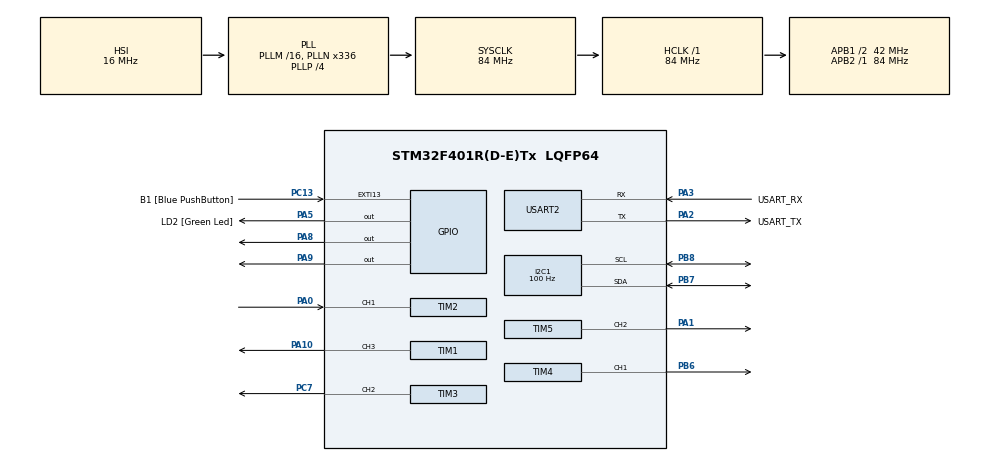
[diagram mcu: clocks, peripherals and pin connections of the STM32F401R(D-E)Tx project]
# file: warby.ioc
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I2C1.ClockSpeed=100
Mcu.Family=STM32F4
Mcu.Name=STM32F401R(D-E)Tx
Mcu.Package=LQFP64
NVIC.PriorityGroup=NVIC_PRIORITYGROUP_0
NVIC.TIM2_IRQn=true\:0\:0\:false\:false\:true\:true\:true
PA0-WKUP.Signal=S_TIM2_CH1_ETR
PA1.Signal=S_TIM5_CH2
PA10.Signal=S_TIM1_CH3
PA13.GPIO_Label=TMS
PA13.Mode=Serial_Wire
PA13.Signal=SYS_JTMS-SWDIO
PA14.GPIO_Label=TCK
PA14.Mode=Serial_Wire
PA14.Signal=SYS_JTCK-SWCLK
PA2.GPIO_Label=USART_TX
PA2.GPIO_Mode=GPIO_MODE_AF_PP
PA2.GPIO_PuPd=GPIO_NOPULL
PA2.GPIO_Speed=GPIO_SPEED_FREQ_LOW
PA2.Mode=Asynchronous
PA2.Signal=USART2_TX
PA3.GPIO_Label=USART_RX
PA3.GPIO_Mode=GPIO_MODE_AF_PP
PA3.GPIO_PuPd=GPIO_NOPULL
PA3.GPIO_Speed=GPIO_SPEED_FREQ_LOW
PA3.Mode=Asynchronous
PA3.Signal=USART2_RX
PA5.GPIO_Label=LD2 [Green Led]
PA5.GPIO_Mode=GPIO_MODE_OUTPUT_PP
PA5.GPIO_PuPd=GPIO_NOPULL
PA5.GPIO_Speed=GPIO_SPEED_FREQ_LOW
PA5.Signal=GPIO_Output
PA8.Signal=GPIO_Output
PA9.Signal=GPIO_Output
PB3.GPIO_Label=SWO
PB3.Signal=SYS_JTDO-SWO
PB6.Signal=S_TIM4_CH1
PB7.Mode=I2C
PB7.Signal=I2C1_SDA
PB8.Mode=I2C
PB8.Signal=I2C1_SCL
PC13-ANTI_TAMP.GPIO_Label=B1 [Blue PushButton]
PC13-ANTI_TAMP.GPIO_ModeDefaultEXTI=GPIO_MODE_IT_FALLING
PC13-ANTI_TAMP.GPIO_PuPd=GPIO_NOPULL
PC13-ANTI_TAMP.Signal=GPXTI13
PC14-OSC32_IN.Mode=LSE-External-Oscillator
PC14-OSC32_IN.Signal=RCC_OSC32_IN
PC15-OSC32_OUT.Mode=LSE-External-Oscillator
PC15-OSC32_OUT.Signal=RCC_OSC32_OUT
PC7.Signal=S_TIM3_CH2
PH0\ -\ OSC_IN.Mode=HSE-External-Clock-Source
PH0\ -\ OSC_IN.Signal=RCC_OSC_IN
PH1\ -\ OSC_OUT.Mode=HSE-External-Clock-Source
PH1\ -\ OSC_OUT.Signal=RCC_OSC_OUT
ProjectManager.HeapSize=0x200
ProjectManager.StackSize=0x400
ProjectManager.TargetToolchain=STM32CubeIDE
RCC.48MHZClocksFreq_Value=48000000
RCC.AHBFreq_Value=84000000
RCC.APB1CLKDivider=RCC_HCLK_DIV2
RCC.APB1Freq_Value=42000000
RCC.APB1TimFreq_Value=84000000
RCC.APB2Freq_Value=84000000
RCC.APB2TimFreq_Value=84000000
RCC.CortexFreq_Value=84000000
RCC.HCLKFreq_Value=84000000
RCC.HSE_VALUE=8000000
RCC.HSI_VALUE=16000000
RCC.PLLN=336
RCC.PLLP=RCC_PLLP_DIV4
RCC.PLLQ=7
RCC.SYSCLKFreq_VALUE=84000000
RCC.SYSCLKSource=RCC_SYSCLKSOURCE_PLLCLK
RCC.VCOOutputFreq_Value=336000000
SH.S_TIM1_CH3.0=TIM1_CH3,PWM Generation3 CH3
SH.S_TIM2_CH1_ETR.0=TIM2_CH1,Input_Capture1_from_TI1
SH.S_TIM3_CH2.0=TIM3_CH2,PWM Generation2 CH2
SH.S_TIM4_CH1.0=TIM4_CH1,PWM Generation1 CH1
SH.S_TIM5_CH2.0=TIM5_CH2,PWM Generation2 CH2
TIM1.BreakPolarity=TIM_BREAKPOLARITY_HIGH
TIM1.Channel-PWM\ Generation3\ CH3=TIM_CHANNEL_3
TIM1.Period=499
TIM1.Prescaler=8399
TIM2.Channel-Input_Capture1_from_TI1=TIM_CHANNEL_1
TIM2.ICPolarity_CH1=TIM_INPUTCHANNELPOLARITY_RISING
TIM2.Period=100000
TIM2.Prescaler=42000
TIM3.Channel-PWM\ Generation2\ CH2=TIM_CHANNEL_2
TIM3.Period=499
TIM3.Prescaler=8399
TIM4.Channel-PWM\ Generation1\ CH1=TIM_CHANNEL_1
TIM4.Period=499
TIM4.Prescaler=8399
TIM5.Channel-PWM\ Generation2\ CH2=TIM_CHANNEL_2
TIM5.Period=100
TIM5.Prescaler=42000
USART2.VirtualMode=VM_ASYNC
VP_TIM1_VS_ClockSourceINT.Mode=Internal
VP_TIM2_VS_ClockSourceINT.Mode=Internal
VP_TIM3_VS_ClockSourceINT.Mode=Internal
VP_TIM4_VS_ClockSourceINT.Mode=Internal
VP_TIM5_VS_ClockSourceINT.Mode=Internal
board=NUCLEO-F401RE

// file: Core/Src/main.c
/* USER CODE BEGIN Header */
/**
  ******************************************************************************
  * @file           : main.c
  * @brief          : This program implements the state machine for a robotic
  * 				          system.
  ******************************************************************************
  * @attention
  *
  * <h2><center>&copy; Copyright (c) 2020 STMicroelectronics.
  * All rights reserved.</center></h2>
  *
  * This software component is licensed by ST under BSD 3-Clause license,
  * the "License"; You may not use this file except in compliance with the
  * License. You may obtain a copy of the License at:
  *                        opensource.org/licenses/BSD-3-Clause
  *
  ******************************************************************************
  */
/* USER CODE END Header */

#include "main.h"

/* USER CODE BEGIN Includes */
#include "stdbool.h"
/* USER CODE END Includes */

/* USER CODE BEGIN PTD */
typedef SystemState {
  Init_State,
  Transit_State,
  Object_Detect_Transit_State
};

typedef SystemEvent {
  Light_Detect_Event,
  Obstacle_Detect_Event
};
/* USER CODE END PTD */

/* USER CODE BEGIN PD */
#define FAST 110
#define MODERATE 70
#define SLOW 50
/* USER CODE END PD */

I2C_HandleTypeDef hi2c1;

TIM_HandleTypeDef htim1;
TIM_HandleTypeDef htim2;
TIM_HandleTypeDef htim3;
TIM_HandleTypeDef htim4;
TIM_HandleTypeDef htim5;

UART_HandleTypeDef huart2;

/* USER CODE BEGIN PV */
static const uint8_t PC8591_ADDR = 0x48 << 1; // Use 8-bit address
int servo_pwm = 0;
int pwm_scale = 190;
int pwm_light1 = 0;
int pwm_light2 = 0;
int pwm_dist1 = 0;
int pwm_dist2 = 0;
int obj_right = 0;
int obj_left = 0;
double rebound_angle = 0;
int brightest_one = 0; // init_state var: record brightest light read
int brightest_two = 0; // init_state var: record brightest light read
uint8_t buf[20];
int light_vals[3];
/* USER CODE END PV */

void SystemClock_Config(void);
static void MX_GPIO_Init(void);
static void MX_USART2_UART_Init(void);
static void MX_TIM1_Init(void);
static void MX_I2C1_Init(void);
static void MX_TIM3_Init(void);
static void MX_TIM4_Init(void);
static void MX_TIM2_Init(void);
static void MX_TIM5_Init(void);

/* USER CODE BEGIN 0 */
uint32_t IC_Val1 = 0;
uint32_t IC_Val2 = 0;
uint32_t difference = 0;
uint8_t isFirstCaptured = 0;  // boolean: is the first value captured

/**
  * @brief Called when an interrupt is generated. Captures the "on"
  * duration for the Echo PWM signal from the ultrasonic signal,
  * which corresponds to the relative distance of the nearest object.
  * @modifies IC_Val1, ICVal2, difference, isFirstCaptured
  * @param htim (pointer to timer that triggered the interrupt)
  * @retval None
  */
void HAL_TIM_IC_CaptureCallback(TIM_HandleTypeDef *htim) {
	if (htim->Instance == TIM2) { // interrupt source is TIM2
		if (!isFirstCaptured) { // first value not captured
			IC_Val1 = HAL_TIM_ReadCapturedValue(htim, TIM_CHANNEL_1); // read first value
			isFirstCaptured = 1;  // set first captured as true

			// change polarity to falling edge
			__HAL_TIM_SET_CAPTUREPOLARITY(htim, TIM_CHANNEL_1, TIM_INPUTCHANNELPOLARITY_FALLING);
		}
		else {  // if the first already captured
			IC_Val2 = HAL_TIM_ReadCapturedValue(htim, TIM_CHANNEL_1);  // read second value
			__HAL_TIM_SET_COUNTER(htim, 0);  // reset the counter

			if (IC_Val2 > IC_Val1) {
				difference = IC_Val2 - IC_Val1;
			}

			isFirstCaptured = 0; // set it back to false

			// set polarity to rising edge
			__HAL_TIM_SET_CAPTUREPOLARITY(htim, TIM_CHANNEL_1, TIM_INPUTCHANNELPOLARITY_RISING);
		} //else
	} //if
} //HAL_TIM_IC_CaptureCallback()

// EFFECTS: returns light intensity reading from photovoltaic cell
// on PC8591 module
int getLightIntensity() {
	HAL_StatusTypeDef ret;
	uint8_t buf[20];
	// Tell TMP102 that we want to read from the temperature register
	buf[0] = 0b01000000; // control byte
	ret = HAL_I2C_Master_Transmit(&hi2c1, PC8591_ADDR, buf, 1, HAL_MAX_DELAY);
	if ( ret != HAL_OK ) {
	  strcpy((char*)buf, "Error Tx\r\n");
	} else {

	  // Read 2 bytes from the temperature register
	  ret = HAL_I2C_Master_Receive(&hi2c1, PC8591_ADDR, buf, 2, HAL_MAX_DELAY);
	  if ( ret != HAL_OK ) {
		  strcpy((char*)buf, "Error Rx\r\n");
	  }
	}
	return buf[1]; // second read is more reliable
}

/**
  * @brief returns value of difference (global var) that is computed in
  * HAL_TIM_IC_CaptureCallback()
  * @param None
  * @retval distance reading to nearest object detected by ultrasonic
  * sensor
  */
int getDist() {
	__HAL_TIM_SetCompare(&htim5, TIM_CHANNEL_2, 5);
	return difference;
}

/**
  * @brief stops all motion
  * @param None
  * @retval None
  */
void brake() {
	__HAL_TIM_SetCompare(&htim3, TIM_CHANNEL_2, 0);
	__HAL_TIM_SetCompare(&htim4, TIM_CHANNEL_1, 0);
}

/**
  * @brief pivots robot to the right (in place) for specified
  * duration (timer)
  * @param timer (duration of pivot), use an int multiple of
  * pwm_scale
  * @retval None
  */
void turnR(uint32_t timer) {
	HAL_GPIO_WritePin(GPIOA, GPIO_PIN_8, 1);
	HAL_GPIO_WritePin(GPIOA, GPIO_PIN_9, 0);
	__HAL_TIM_SetCompare(&htim3, TIM_CHANNEL_2, FAST);
	__HAL_TIM_SetCompare(&htim4, TIM_CHANNEL_1, FAST);
	HAL_Delay(timer);
	brake();
}

/**
  * @brief pivots robot to the left (in place) for specified
  * duration (timer)
  * @param timer (duration of pivot), use an int multiple of
  * pwm_scale
  * @retval None
  */
void turnL(uint32_t timer) {
	HAL_GPIO_WritePin(GPIOA, GPIO_PIN_8, 0);
	HAL_GPIO_WritePin(GPIOA, GPIO_PIN_9, 1);
	__HAL_TIM_SetCompare(&htim3, TIM_CHANNEL_2, FAST);
	__HAL_TIM_SetCompare(&htim4, TIM_CHANNEL_1, FAST);
	HAL_Delay(timer);
	brake();
}

/**
  * @brief moves robot forward at specified speed for
  * specified duration (timer)
  * @param speed use macros SLOW, MODERATE, and FAST
  * @retval None
  */
void moveF(int speed) {
	HAL_GPIO_WritePin(GPIOA, GPIO_PIN_8, 0);
  HAL_GPIO_WritePin(GPIOA, GPIO_PIN_9, 0);
	__HAL_TIM_SetCompare(&htim3, TIM_CHANNEL_2, speed);
	__HAL_TIM_SetCompare(&htim4, TIM_CHANNEL_1, speed);
}

/**
  * @brief moves robot backwards at specified speed for
  * specified duration (timer)
  * @param speed -- use macros SLOW, MODERATE, and FAST
  * @retval None
  */
void reverse(int speed) {
	HAL_GPIO_WritePin(GPIOA, GPIO_PIN_8, 1);
  HAL_GPIO_WritePin(GPIOA, GPIO_PIN_9, 1);
	__HAL_TIM_SetCompare(&htim3, TIM_CHANNEL_2, speed);
	__HAL_TIM_SetCompare(&htim4, TIM_CHANNEL_1, speed);
}

/**
  * @brief manuvers around right side of object
  * @param None
  * @retval None
  */
void travelOnRight() {
  turnR(10*pwm_scale);
	moveF(FAST);
	turnL(5*pwm_scale);
}

/**
  * @brief manuvers around left side of object
  * @param None
  * @retval None
  */
void travelOnLeft() {
  turnL(10*pwm_scale);
  moveF(FAST);
  turnR(5*pwm_scale);
}

/**
  * @brief appropriately avoids object using boolean values
  * indicating presence of objects on the right or left side of robot
  * @param objR -- true if object on the right
  * @param objL -- true if object on the left
  * @retval None
  */
// EFFECTS:
void objectAvoid(bool objR, bool objL) {
	if(!objL) { // left side clear
		travelOnLeft();
	}
  else if(objR && objL) { // both sides occupied
		reverse(FAST);
    travelOnRight();
	}
	else { // right or both sides clear
		travelOnRight();
	}
}

SystemEvent ReadEvent(int *brightest) {
	SystemEvent event = Light_Detect_Event;
	uint8_t curr_light = 0;
	uint32_t curr_dist = 0;
//	double N = 21;
//	double alpha_0 = 8.57142857;
//	double num = 0; // numerator of rebound_angle
//	double denom = 0; // denominator of rebound_angle
//	int i = -N/2;
	obj_right = 0;
	obj_left = 0;
	int closest = 1;
	*brightest = 255;
	for(servo_pwm = 5; servo_pwm < 26; ++servo_pwm) {
		__HAL_TIM_SetCompare(&htim1, TIM_CHANNEL_3, servo_pwm); // send servo pwm sig
		HAL_Delay(50);
		curr_light = getLightIntensity();
		if(curr_light < *brightest && event != Obstacle_Detect_Event) {
			pwm_light1 = servo_pwm;
			*brightest = curr_light;
		}
		curr_dist = getDist();
		if(curr_dist == closest && servo_pwm > 11 && servo_pwm < 19) {
			brake();
			closest = curr_dist;
			pwm_dist1 = servo_pwm;
			event = Obstacle_Detect_Event;
		}
//		num += (i*alpha_0*curr_dist);
//		denom += curr_dist;
//		++i;
	}
	sprintf((char*)buf, "LIGHT_PWM1 %u\r\n", (unsigned int) pwm_light1);
	HAL_UART_Transmit(&huart2, buf, strlen((char*)buf), HAL_MAX_DELAY);
	*brightest = 255;
	for(servo_pwm = 24; servo_pwm > 5; --servo_pwm) {
		__HAL_TIM_SetCompare(&htim1, TIM_CHANNEL_3, servo_pwm); // send servo pwm sig
		HAL_Delay(50);
		curr_light = getLightIntensity();
		if(curr_light < *brightest && event != Obstacle_Detect_Event) {
			pwm_light2 = servo_pwm;
			*brightest = curr_light;
			event = Light_Detect_Event;
		}
		curr_dist = getDist();
		if(curr_dist == closest) {
			if(servo_pwm <= 11) {
				obj_right = 1;
			}
			else if(servo_pwm > 11 && servo_pwm < 19) {
				brake();
				closest = curr_dist;
				pwm_dist2 = servo_pwm;
				event = Obstacle_Detect_Event;
			}
			else if(servo_pwm >= 19) {
				obj_left = 1;
			}
		}
	}
	sprintf((char*)buf, "LIGHT_PWM2 %u\r\n", (unsigned int) pwm_light2);
	HAL_UART_Transmit(&huart2, buf, strlen((char*)buf), HAL_MAX_DELAY);
//	rebound_angle = num/denom;
	return event;
}

SystemState LightDetectHandler()
{
	int average = (pwm_light1 + pwm_light2)/2;
	if(average > 15) {
		turnL((average - 15)*pwm_scale);
	}
	else {
		turnR((15 - average)*pwm_scale);
	}
	moveF(SLOW); // move indefinitely
    return Transit_State;
}

SystemState LightOutOfRangeHandler()
{
	turnL(20*pwm_scale); // do a 180
	ReadEvent(&brightest_two); // find brightest
	if(brightest_one < brightest_two) { // first read had our light sources
		turnL(20*pwm_scale); // turn back
	}
	brightest_one = 255; // reset vars
	brightest_two = 255;
	return Transit_State;
}

SystemState ObstacleDetectHandler()
{
	sprintf((char*)buf, "PWM_DIST1 %u\r\n", (unsigned int) pwm_dist1);
	HAL_UART_Transmit(&huart2, buf, strlen((char*)buf), HAL_MAX_DELAY);
	sprintf((char*)buf, "PWM_DIST2 %u\r\n", (unsigned int) pwm_dist2);
	HAL_UART_Transmit(&huart2, buf, strlen((char*)buf), HAL_MAX_DELAY);
	if(pwm_dist1 == 18 && pwm_dist2 == 12) { // large obj or two in front
		if(!obj_right && !obj_left) { // go right if both sides clear
			turnR(10*pwm_scale);
			moveF(1000, FAST);
			turnL(5*pwm_scale);
		}
		else if(obj_right && !obj_left) { // nothing to the left
			turnL(10*pwm_scale);
			moveF(1000, FAST);
			turnR(5*pwm_scale);
		}
		else if(!obj_right && obj_left) { // nothing to the right
			turnR(10*pwm_scale);
			moveF(1000, 110);
			turnL(5*pwm_scale);
		}
		else { // reverse if both sides occupied
			reverse(FAST);
			turnR(10*pwm_scale);
			moveF(700, 110);
			turnL(5*pwm_scale);
		}
	}
	else if(pwm_dist1 > 15) {
		if(!obj_right && !obj_left) { // go right if both sides clear
			turnR(7*pwm_scale);
			moveF(700, 110);
			turnL(5*pwm_scale);
		}
		else if(obj_right && !obj_left) { // nothing to the left
			turnL(7*pwm_scale);
			moveF(700, 110);
			turnR(5*pwm_scale);
		}
		else if(!obj_right && obj_left) { // nothing to the right
			turnR(7*pwm_scale);
			moveF(700, 110);
			turnL(5*pwm_scale);
		}
		else { // reverse if both sides occupied
			reverse(FAST);
			turnR(7*pwm_scale);
			moveF(700, 110);
			turnL(5*pwm_scale);
		}
	}
	else {
		if(!obj_right && !obj_left) { // go left if both sides clear
			turnL(7*pwm_scale);
			moveF(700, 110);
			turnR(5*pwm_scale);
		}
		else if(obj_right && !obj_left) { // nothing to the left
			turnL(7*pwm_scale);
			moveF(700, 110);
			turnR(5*pwm_scale);
		}
		else if(!obj_right && obj_left) { // nothing to the right
			turnR(7*pwm_scale);
			moveF(700, 110);
			turnL(5*pwm_scale);
		}
		else { // reverse if both sides occupied
			reverse(FAST);
			turnL(7*pwm_scale);
			moveF(700, 110);
			turnR(5*pwm_scale);
		}
	}

//	if(pwm_dist > 15) {
//		turnR(20*pwm_scale);
//	}
//	else {
//		turnL(20*pwm_scale);
//	}

//	double alpha_0 = 8.57142857;
//	double rebound = rebound_angle;
//	int angle = rebound_angle/alpha_0;
//	if(rebound_angle > 0) { // open space to left
//		turnL(angle*pwm_scale);
//	}
//	else { // open space to right
//		turnR(-1*angle*pwm_scale);
//	}
	moveF(SLOW);
    return Obstacle_Detect_Transit_State;
}

/* USER CODE END 0 */

int main(void)
{
  /* USER CODE BEGIN 1 */
	SystemState NextState = Init_State;
	SystemEvent NewEvent;
  /* USER CODE END 1 */

  /* MCU Configuration--------------------------------------------------------*/

  /* Reset of all peripherals, Initializes the Flash interface and the Systick. */
  HAL_Init();

  /* Configure the system clock */
  SystemClock_Config();

  /* Initialize all configured peripherals */
  MX_GPIO_Init();
  MX_USART2_UART_Init();
  MX_TIM1_Init();
  MX_I2C1_Init();
  MX_TIM3_Init();
  MX_TIM4_Init();
  MX_TIM2_Init();
  MX_TIM5_Init();
  /* USER CODE BEGIN 2 */
  HAL_TIM_PWM_Start(&htim5, TIM_CHANNEL_2);
  HAL_TIM_PWM_Start(&htim1, TIM_CHANNEL_3);
  HAL_TIM_IC_Start_IT(&htim2, TIM_CHANNEL_1);
  HAL_TIM_PWM_Start(&htim3, TIM_CHANNEL_2);
  HAL_TIM_PWM_Start(&htim4, TIM_CHANNEL_1);
  /* USER CODE END 2 */

  /* Infinite loop */
  /* USER CODE BEGIN WHILE */
  while (1)
  {
	  NewEvent = ReadEvent(&brightest_one);

	  switch(NextState) {
	  case Init_State:
		  if(NewEvent == Obstacle_Detect_Event) {
			  NextState = ObstacleDetectHandler();
		  }
		  else {
			  NextState = LightOutOfRangeHandler();
		  }
		  break;
	  case Transit_State:
		  if(NewEvent == Obstacle_Detect_Event) {
			  NextState = ObstacleDetectHandler();
		  }
		  else {
			  NextState = LightDetectHandler();
		  }
		  break;
	  case Obstacle_Detect_Transit_State:
		  if(NewEvent == Obstacle_Detect_Event) {
			  NextState = ObstacleDetectHandler();
		  }
//		  else if(NewEvent == Light_Out_Of_Range_Event) {
//			  NextState = LightOutOfRangeHandler();
//		  }
		  else {
			  NextState = LightDetectHandler();
		  }
		  break;
	  }
    /* USER CODE END WHILE */

    /* USER CODE BEGIN 3 */
  }
  return 0;
  /* USER CODE END 3 */
}

void SystemClock_Config(void)
{
  RCC_OscInitTypeDef RCC_OscInitStruct = {0};
  RCC_ClkInitTypeDef RCC_ClkInitStruct = {0};

  /** Configure the main internal regulator output voltage
  */
  __HAL_RCC_PWR_CLK_ENABLE();
  __HAL_PWR_VOLTAGESCALING_CONFIG(PWR_REGULATOR_VOLTAGE_SCALE2);
  /** Initializes the CPU, AHB and APB busses clocks
  */
  RCC_OscInitStruct.OscillatorType = RCC_OSCILLATORTYPE_HSI;
  RCC_OscInitStruct.HSIState = RCC_HSI_ON;
  RCC_OscInitStruct.HSICalibrationValue = RCC_HSICALIBRATION_DEFAULT;
  RCC_OscInitStruct.PLL.PLLState = RCC_PLL_ON;
  RCC_OscInitStruct.PLL.PLLSource = RCC_PLLSOURCE_HSI;
  RCC_OscInitStruct.PLL.PLLM = 16;
  RCC_OscInitStruct.PLL.PLLN = 336;
  RCC_OscInitStruct.PLL.PLLP = RCC_PLLP_DIV4;
  RCC_OscInitStruct.PLL.PLLQ = 7;
  if (HAL_RCC_OscConfig(&RCC_OscInitStruct) != HAL_OK)
  {
    Error_Handler();
  }
  /** Initializes the CPU, AHB and APB busses clocks
  */
  RCC_ClkInitStruct.ClockType = RCC_CLOCKTYPE_HCLK|RCC_CLOCKTYPE_SYSCLK
                              |RCC_CLOCKTYPE_PCLK1|RCC_CLOCKTYPE_PCLK2;
  RCC_ClkInitStruct.SYSCLKSource = RCC_SYSCLKSOURCE_PLLCLK;
  RCC_ClkInitStruct.AHBCLKDivider = RCC_SYSCLK_DIV1;
  RCC_ClkInitStruct.APB1CLKDivider = RCC_HCLK_DIV2;
  RCC_ClkInitStruct.APB2CLKDivider = RCC_HCLK_DIV1;

  if (HAL_RCC_ClockConfig(&RCC_ClkInitStruct, FLASH_LATENCY_2) != HAL_OK)
  {
    Error_Handler();
  }
}

static void MX_I2C1_Init(void)
{

  hi2c1.Instance = I2C1;
  hi2c1.Init.ClockSpeed = 100;
  hi2c1.Init.DutyCycle = I2C_DUTYCYCLE_2;
  hi2c1.Init.OwnAddress1 = 0;
  hi2c1.Init.AddressingMode = I2C_ADDRESSINGMODE_7BIT;
  hi2c1.Init.DualAddressMode = I2C_DUALADDRESS_DISABLE;
  hi2c1.Init.OwnAddress2 = 0;
  hi2c1.Init.GeneralCallMode = I2C_GENERALCALL_DISABLE;
  hi2c1.Init.NoStretchMode = I2C_NOSTRETCH_DISABLE;
  if (HAL_I2C_Init(&hi2c1) != HAL_OK)
  {
    Error_Handler();
  }

}

static void MX_TIM1_Init(void)
{

  TIM_ClockConfigTypeDef sClockSourceConfig = {0};
  TIM_MasterConfigTypeDef sMasterConfig = {0};
  TIM_OC_InitTypeDef sConfigOC = {0};
  TIM_BreakDeadTimeConfigTypeDef sBreakDeadTimeConfig = {0};

  htim1.Instance = TIM1;
  htim1.Init.Prescaler = 8399;
  htim1.Init.CounterMode = TIM_COUNTERMODE_UP;
  htim1.Init.Period = 499;
  htim1.Init.ClockDivision = TIM_CLOCKDIVISION_DIV1;
  htim1.Init.RepetitionCounter = 0;
  htim1.Init.AutoReloadPreload = TIM_AUTORELOAD_PRELOAD_DISABLE;
  if (HAL_TIM_Base_Init(&htim1) != HAL_OK)
  {
    Error_Handler();
  }
  sClockSourceConfig.ClockSource = TIM_CLOCKSOURCE_INTERNAL;
  if (HAL_TIM_ConfigClockSource(&htim1, &sClockSourceConfig) != HAL_OK)
  {
    Error_Handler();
  }
  if (HAL_TIM_PWM_Init(&htim1) != HAL_OK)
  {
    Error_Handler();
  }
  sMasterConfig.MasterOutputTrigger = TIM_TRGO_RESET;
  sMasterConfig.MasterSlaveMode = TIM_MASTERSLAVEMODE_DISABLE;
  if (HAL_TIMEx_MasterConfigSynchronization(&htim1, &sMasterConfig) != HAL_OK)
  {
    Error_Handler();
  }
  sConfigOC.OCMode = TIM_OCMODE_PWM1;
  sConfigOC.Pulse = 0;
  sConfigOC.OCPolarity = TIM_OCPOLARITY_HIGH;
  sConfigOC.OCNPolarity = TIM_OCNPOLARITY_HIGH;
  sConfigOC.OCFastMode = TIM_OCFAST_DISABLE;
  sConfigOC.OCIdleState = TIM_OCIDLESTATE_RESET;
  sConfigOC.OCNIdleState = TIM_OCNIDLESTATE_RESET;
  if (HAL_TIM_PWM_ConfigChannel(&htim1, &sConfigOC, TIM_CHANNEL_3) != HAL_OK)
  {
    Error_Handler();
  }
  sBreakDeadTimeConfig.OffStateRunMode = TIM_OSSR_DISABLE;
  sBreakDeadTimeConfig.OffStateIDLEMode = TIM_OSSI_DISABLE;
  sBreakDeadTimeConfig.LockLevel = TIM_LOCKLEVEL_OFF;
  sBreakDeadTimeConfig.DeadTime = 0;
  sBreakDeadTimeConfig.BreakState = TIM_BREAK_DISABLE;
  sBreakDeadTimeConfig.BreakPolarity = TIM_BREAKPOLARITY_HIGH;
  sBreakDeadTimeConfig.AutomaticOutput = TIM_AUTOMATICOUTPUT_DISABLE;
  if (HAL_TIMEx_ConfigBreakDeadTime(&htim1, &sBreakDeadTimeConfig) != HAL_OK)
  {
    Error_Handler();
  }
  HAL_TIM_MspPostInit(&htim1);

}

static void MX_TIM2_Init(void)
{

  TIM_ClockConfigTypeDef sClockSourceConfig = {0};
  TIM_MasterConfigTypeDef sMasterConfig = {0};
  TIM_IC_InitTypeDef sConfigIC = {0};

  htim2.Instance = TIM2;
  htim2.Init.Prescaler = 42000;
  htim2.Init.CounterMode = TIM_COUNTERMODE_UP;
  htim2.Init.Period = 100000;
  htim2.Init.ClockDivision = TIM_CLOCKDIVISION_DIV1;
  htim2.Init.AutoReloadPreload = TIM_AUTORELOAD_PRELOAD_DISABLE;
  if (HAL_TIM_Base_Init(&htim2) != HAL_OK)
  {
    Error_Handler();
  }
  sClockSourceConfig.ClockSource = TIM_CLOCKSOURCE_INTERNAL;
  if (HAL_TIM_ConfigClockSource(&htim2, &sClockSourceConfig) != HAL_OK)
  {
    Error_Handler();
  }
  if (HAL_TIM_IC_Init(&htim2) != HAL_OK)
  {
    Error_Handler();
  }
  sMasterConfig.MasterOutputTrigger = TIM_TRGO_RESET;
  sMasterConfig.MasterSlaveMode = TIM_MASTERSLAVEMODE_DISABLE;
  if (HAL_TIMEx_MasterConfigSynchronization(&htim2, &sMasterConfig) != HAL_OK)
  {
    Error_Handler();
  }
  sConfigIC.ICPolarity = TIM_INPUTCHANNELPOLARITY_RISING;
  sConfigIC.ICSelection = TIM_ICSELECTION_DIRECTTI;
  sConfigIC.ICPrescaler = TIM_ICPSC_DIV1;
  sConfigIC.ICFilter = 0;
  if (HAL_TIM_IC_ConfigChannel(&htim2, &sConfigIC, TIM_CHANNEL_1) != HAL_OK)
  {
    Error_Handler();
  }

}

static void MX_TIM3_Init(void)
{

  TIM_ClockConfigTypeDef sClockSourceConfig = {0};
  TIM_MasterConfigTypeDef sMasterConfig = {0};
  TIM_OC_InitTypeDef sConfigOC = {0};

  htim3.Instance = TIM3;
  htim3.Init.Prescaler = 8399;
  htim3.Init.CounterMode = TIM_COUNTERMODE_UP;
  htim3.Init.Period = 499;
  htim3.Init.ClockDivision = TIM_CLOCKDIVISION_DIV1;
  htim3.Init.AutoReloadPreload = TIM_AUTORELOAD_PRELOAD_DISABLE;
  if (HAL_TIM_Base_Init(&htim3) != HAL_OK)
  {
    Error_Handler();
  }
  sClockSourceConfig.ClockSource = TIM_CLOCKSOURCE_INTERNAL;
  if (HAL_TIM_ConfigClockSource(&htim3, &sClockSourceConfig) != HAL_OK)
  {
    Error_Handler();
  }
  if (HAL_TIM_PWM_Init(&htim3) != HAL_OK)
  {
    Error_Handler();
  }
  sMasterConfig.MasterOutputTrigger = TIM_TRGO_RESET;
  sMasterConfig.MasterSlaveMode = TIM_MASTERSLAVEMODE_DISABLE;
  if (HAL_TIMEx_MasterConfigSynchronization(&htim3, &sMasterConfig) != HAL_OK)
  {
    Error_Handler();
  }
  sConfigOC.OCMode = TIM_OCMODE_PWM1;
  sConfigOC.Pulse = 0;
  sConfigOC.OCPolarity = TIM_OCPOLARITY_HIGH;
  sConfigOC.OCFastMode = TIM_OCFAST_DISABLE;
  if (HAL_TIM_PWM_ConfigChannel(&htim3, &sConfigOC, TIM_CHANNEL_2) != HAL_OK)
  {
    Error_Handler();
  }
  HAL_TIM_MspPostInit(&htim3);

}

static void MX_TIM4_Init(void)
{

  TIM_ClockConfigTypeDef sClockSourceConfig = {0};
  TIM_MasterConfigTypeDef sMasterConfig = {0};
  TIM_OC_InitTypeDef sConfigOC = {0};

  htim4.Instance = TIM4;
  htim4.Init.Prescaler = 8399;
  htim4.Init.CounterMode = TIM_COUNTERMODE_UP;
  htim4.Init.Period = 499;
  htim4.Init.ClockDivision = TIM_CLOCKDIVISION_DIV1;
  htim4.Init.AutoReloadPreload = TIM_AUTORELOAD_PRELOAD_DISABLE;
  if (HAL_TIM_Base_Init(&htim4) != HAL_OK)
  {
    Error_Handler();
  }
  sClockSourceConfig.ClockSource = TIM_CLOCKSOURCE_INTERNAL;
  if (HAL_TIM_ConfigClockSource(&htim4, &sClockSourceConfig) != HAL_OK)
  {
    Error_Handler();
  }
  if (HAL_TIM_PWM_Init(&htim4) != HAL_OK)
  {
    Error_Handler();
  }
  sMasterConfig.MasterOutputTrigger = TIM_TRGO_RESET;
  sMasterConfig.MasterSlaveMode = TIM_MASTERSLAVEMODE_DISABLE;
  if (HAL_TIMEx_MasterConfigSynchronization(&htim4, &sMasterConfig) != HAL_OK)
  {
    Error_Handler();
  }
  sConfigOC.OCMode = TIM_OCMODE_PWM1;
  sConfigOC.Pulse = 0;
  sConfigOC.OCPolarity = TIM_OCPOLARITY_HIGH;
  sConfigOC.OCFastMode = TIM_OCFAST_DISABLE;
  if (HAL_TIM_PWM_ConfigChannel(&htim4, &sConfigOC, TIM_CHANNEL_1) != HAL_OK)
  {
    Error_Handler();
  }
  HAL_TIM_MspPostInit(&htim4);

}

static void MX_TIM5_Init(void)
{

  TIM_ClockConfigTypeDef sClockSourceConfig = {0};
  TIM_MasterConfigTypeDef sMasterConfig = {0};
  TIM_OC_InitTypeDef sConfigOC = {0};

  htim5.Instance = TIM5;
  htim5.Init.Prescaler = 42000;
  htim5.Init.CounterMode = TIM_COUNTERMODE_UP;
  htim5.Init.Period = 100;
  htim5.Init.ClockDivision = TIM_CLOCKDIVISION_DIV1;
  htim5.Init.AutoReloadPreload = TIM_AUTORELOAD_PRELOAD_DISABLE;
  if (HAL_TIM_Base_Init(&htim5) != HAL_OK)
  {
    Error_Handler();
  }
  sClockSourceConfig.ClockSource = TIM_CLOCKSOURCE_INTERNAL;
  if (HAL_TIM_ConfigClockSource(&htim5, &sClockSourceConfig) != HAL_OK)
  {
    Error_Handler();
  }
  if (HAL_TIM_PWM_Init(&htim5) != HAL_OK)
  {
    Error_Handler();
  }
  sMasterConfig.MasterOutputTrigger = TIM_TRGO_RESET;
  sMasterConfig.MasterSlaveMode = TIM_MASTERSLAVEMODE_DISABLE;
  if (HAL_TIMEx_MasterConfigSynchronization(&htim5, &sMasterConfig) != HAL_OK)
  {
    Error_Handler();
  }
  sConfigOC.OCMode = TIM_OCMODE_PWM1;
  sConfigOC.Pulse = 0;
  sConfigOC.OCPolarity = TIM_OCPOLARITY_HIGH;
  sConfigOC.OCFastMode = TIM_OCFAST_DISABLE;
  if (HAL_TIM_PWM_ConfigChannel(&htim5, &sConfigOC, TIM_CHANNEL_2) != HAL_OK)
  {
    Error_Handler();
  }
  HAL_TIM_MspPostInit(&htim5);

}

static void MX_USART2_UART_Init(void)
{

  huart2.Instance = USART2;
  huart2.Init.BaudRate = 115200;
  huart2.Init.WordLength = UART_WORDLENGTH_8B;
  huart2.Init.StopBits = UART_STOPBITS_1;
  huart2.Init.Parity = UART_PARITY_NONE;
  huart2.Init.Mode = UART_MODE_TX_RX;
  huart2.Init.HwFlowCtl = UART_HWCONTROL_NONE;
  huart2.Init.OverSampling = UART_OVERSAMPLING_16;
  if (HAL_UART_Init(&huart2) != HAL_OK)
  {
    Error_Handler();
  }

}

static void MX_GPIO_Init(void)
{
  GPIO_InitTypeDef GPIO_InitStruct = {0};

  /* GPIO Ports Clock Enable */
  __HAL_RCC_GPIOC_CLK_ENABLE();
  __HAL_RCC_GPIOH_CLK_ENABLE();
  __HAL_RCC_GPIOA_CLK_ENABLE();
  __HAL_RCC_GPIOB_CLK_ENABLE();

  /*Configure GPIO pin Output Level */
  HAL_GPIO_WritePin(GPIOA, LD2_Pin|GPIO_PIN_8|GPIO_PIN_9, GPIO_PIN_RESET);

  /*Configure GPIO pin : B1_Pin */
  GPIO_InitStruct.Pin = B1_Pin;
  GPIO_InitStruct.Mode = GPIO_MODE_IT_FALLING;
  GPIO_InitStruct.Pull = GPIO_NOPULL;
  HAL_GPIO_Init(B1_GPIO_Port, &GPIO_InitStruct);

  /*Configure GPIO pins : LD2_Pin PA8 PA9 */
  GPIO_InitStruct.Pin = LD2_Pin|GPIO_PIN_8|GPIO_PIN_9;
  GPIO_InitStruct.Mode = GPIO_MODE_OUTPUT_PP;
  GPIO_InitStruct.Pull = GPIO_NOPULL;
  GPIO_InitStruct.Speed = GPIO_SPEED_FREQ_LOW;
  HAL_GPIO_Init(GPIOA, &GPIO_InitStruct);

}

void Error_Handler(void)
{
}

/************************ (C) COPYRIGHT STMicroelectronics *****END OF FILE****/
